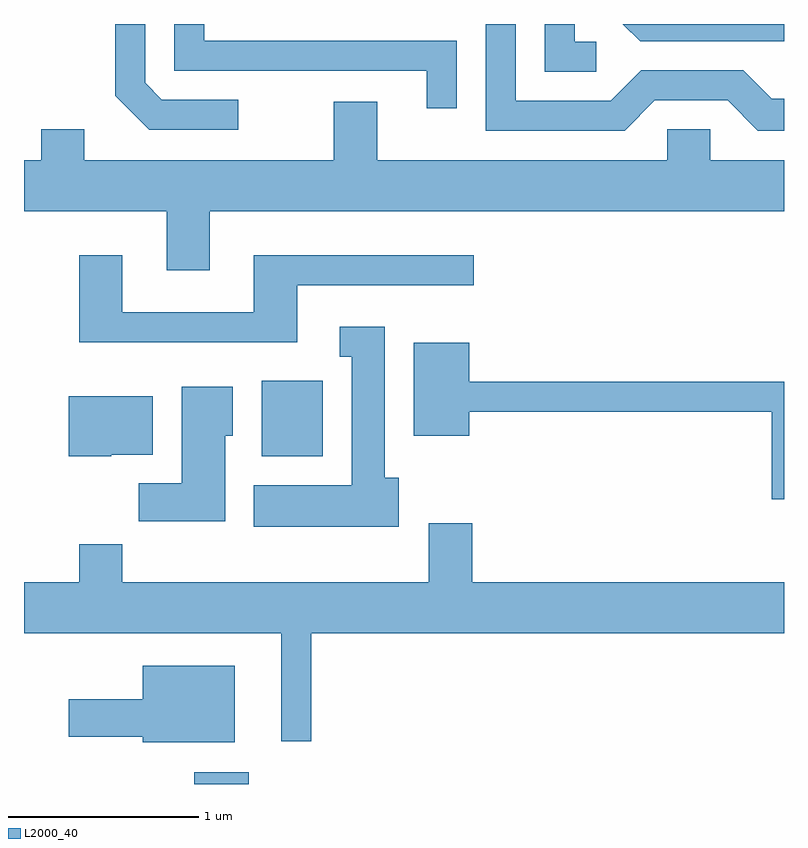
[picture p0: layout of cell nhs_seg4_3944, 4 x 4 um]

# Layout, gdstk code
import gdstk
lib = gdstk.Library(unit=1e-6, precision=1e-09)
def R(c, l, rs):  # rectangles x0, y0, x1, y1
    for r in rs: c.add(gdstk.rectangle(r[:2], r[2:], *l))
def P(c, l, *ps):  # polygons
    for p in ps: c.add(gdstk.Polygon(p, *l))
L2000_40 = (2000, 40)

nhs_seg4_3944 = lib.new_cell('nhs_seg4_3944')
R(nhs_seg4_3944, L2000_40, [(302.506,1253.982,302.794,1254.044), (302.861,1255.706,303.184,1256.104)])
P(nhs_seg4_3944, L2000_40, [(305.611,1257.982),(304.763,1257.982),(304.854,1257.891),(305.611,1257.891)],
  [(304.623,1257.889),(304.509,1257.889),(304.509,1257.982),(304.351,1257.982),(304.351,1257.731),(304.623,1257.731)],
  [(302.738,1257.584),(302.337,1257.584),(302.249,1257.672),(302.249,1257.982),(302.091,1257.982),(302.091,1257.604),(302.269,1257.426),(302.738,1257.426)],
  [(304.932,1257.581),(305.314,1257.581),(305.474,1257.421),(305.611,1257.421),(305.611,1257.589),(305.547,1257.589),(305.397,1257.739),(304.859,1257.739),(304.699,1257.579),(304.199,1257.579),(304.199,1257.982),(304.041,1257.982),(304.041,1257.421),(304.772,1257.421)],
  [(303.889,1257.894),(302.559,1257.894),(302.559,1257.982),(302.401,1257.982),(302.401,1257.736),(303.731,1257.736),(303.731,1257.538),(303.889,1257.538)],
  [(302.589,1256.996),(305.611,1256.996),(305.611,1257.264),(305.224,1257.264),(305.224,1257.429),(304.996,1257.429),(304.996,1257.264),(303.469,1257.264),(303.469,1257.574),(303.241,1257.574),(303.241,1257.264),(301.929,1257.264),(301.929,1257.429),(301.701,1257.429),(301.701,1257.264),(301.611,1257.264),(301.611,1256.996),(302.361,1256.996),(302.361,1256.686),(302.589,1256.686)],
  [(303.049,1256.606),(303.978,1256.606),(303.978,1256.764),(302.821,1256.764),(302.821,1256.464),(302.129,1256.464),(302.129,1256.764),(301.901,1256.764),(301.901,1256.306),(303.049,1256.306)],
  [(303.584,1255.594),(303.509,1255.594),(303.509,1256.389),(303.273,1256.389),(303.273,1256.231),(303.336,1256.231),(303.336,1255.554),(302.821,1255.554),(302.821,1255.336),(303.584,1255.336)],
  [(305.611,1256.099),(303.954,1256.099),(303.954,1256.304),(303.661,1256.304),(303.661,1255.816),(303.954,1255.816),(303.954,1255.941),(305.546,1255.941),(305.546,1255.481),(305.611,1255.481)],
  [(302.669,1255.816),(302.709,1255.816),(302.709,1256.074),(302.441,1256.074),(302.441,1255.564),(302.216,1255.564),(302.216,1255.366),(302.669,1255.366)],
  [(302.07,1255.716),(302.289,1255.716),(302.289,1256.024),(301.846,1256.024),(301.846,1255.706),(302.07,1255.706)],
  [(303.124,1254.776),(305.611,1254.776),(305.611,1255.044),(303.969,1255.044),(303.969,1255.354),(303.741,1255.354),(303.741,1255.044),(302.129,1255.044),(302.129,1255.244),(301.901,1255.244),(301.901,1255.044),(301.611,1255.044),(301.611,1254.776),(302.966,1254.776),(302.966,1254.208),(303.124,1254.208)],
  [(302.719,1254.604),(302.236,1254.604),(302.236,1254.429),(301.846,1254.429),(301.846,1254.231),(302.236,1254.231),(302.236,1254.201),(302.719,1254.201)])

lib.write_gds('nhs_seg4_3944.gds')
